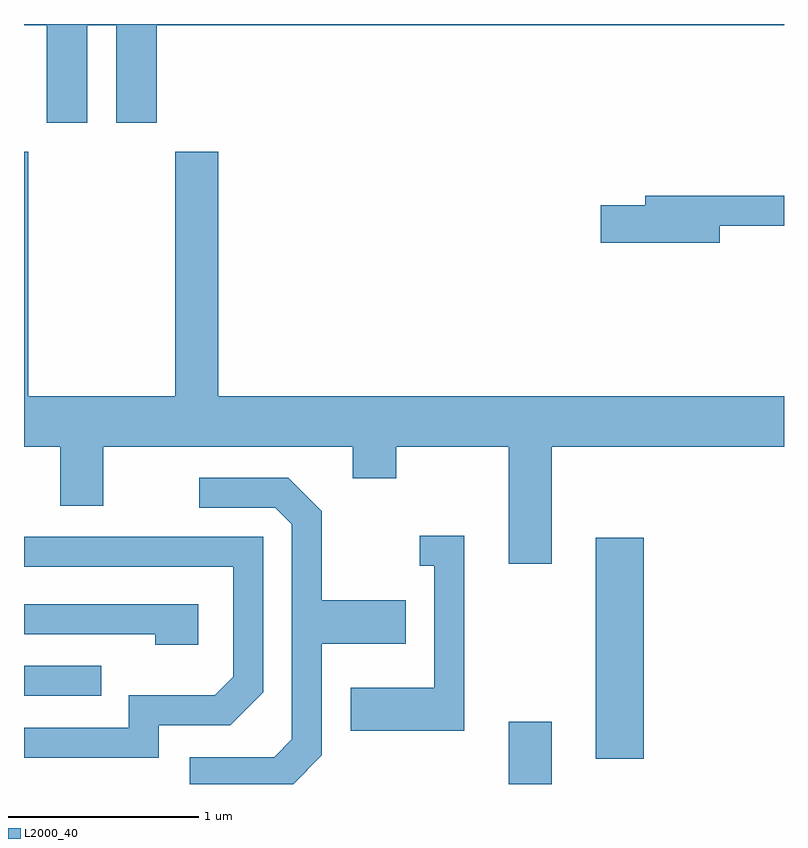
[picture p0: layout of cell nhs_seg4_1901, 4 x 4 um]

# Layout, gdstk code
import gdstk
lib = gdstk.Library(unit=1e-6, precision=1e-09)
def R(c, l, rs):  # rectangles x0, y0, x1, y1
    for r in rs: c.add(gdstk.rectangle(r[:2], r[2:], *l))
def P(c, l, *ps):  # polygons
    for p in ps: c.add(gdstk.Polygon(p, *l))
L2000_40 = (2000, 40)

nhs_seg4_1901 = lib.new_cell('nhs_seg4_1901')
R(nhs_seg4_1901, L2000_40, [(242.161,1383.982,242.389,1384.309), (242.621,1384.116,242.874,1385.279), (239.611,1384.446,240.018,1384.604)])
P(nhs_seg4_1901, L2000_40, [(239.944,1387.976),(240.096,1387.976),(240.096,1387.461),(240.309,1387.461),(240.309,1387.976),(243.611,1387.976),(243.611,1387.982),(239.611,1387.982),(239.611,1387.976),(239.731,1387.976),(239.731,1387.461),(239.944,1387.461)],
  [(242.389,1385.756),(243.611,1385.756),(243.611,1386.024),(240.634,1386.024),(240.634,1387.309),(240.406,1387.309),(240.406,1386.024),(239.634,1386.024),(239.634,1387.309),(239.611,1387.309),(239.611,1385.756),(239.801,1385.756),(239.801,1385.446),(240.029,1385.446),(240.029,1385.756),(241.341,1385.756),(241.341,1385.591),(241.569,1385.591),(241.569,1385.756),(242.161,1385.756),(242.161,1385.141),(242.389,1385.141)],
  [(243.274,1386.921),(243.611,1386.921),(243.611,1387.079),(242.881,1387.079),(242.881,1387.029),(242.646,1387.029),(242.646,1386.831),(243.274,1386.831)],
  [(241.179,1384.134),(241.179,1384.721),(241.619,1384.721),(241.619,1384.949),(241.179,1384.949),(241.179,1385.417),(241.002,1385.594),(240.533,1385.594),(240.533,1385.436),(240.934,1385.436),(241.021,1385.349),(241.021,1384.217),(240.929,1384.124),(240.483,1384.124),(240.483,1383.982),(241.028,1383.982)],
  [(241.929,1385.289),(241.693,1385.289),(241.693,1385.131),(241.771,1385.131),(241.771,1384.489),(241.331,1384.489),(241.331,1384.261),(241.929,1384.261)],
  [(240.319,1384.291),(240.697,1384.291),(240.869,1384.464),(240.869,1385.284),(239.611,1385.284),(239.611,1385.126),(240.711,1385.126),(240.711,1384.547),(240.614,1384.449),(240.161,1384.449),(240.161,1384.279),(239.611,1384.279),(239.611,1384.121),(240.319,1384.121)],
  [(240.529,1384.929),(239.611,1384.929),(239.611,1384.771),(240.301,1384.771),(240.301,1384.716),(240.529,1384.716)])

lib.write_gds('nhs_seg4_1901.gds')
